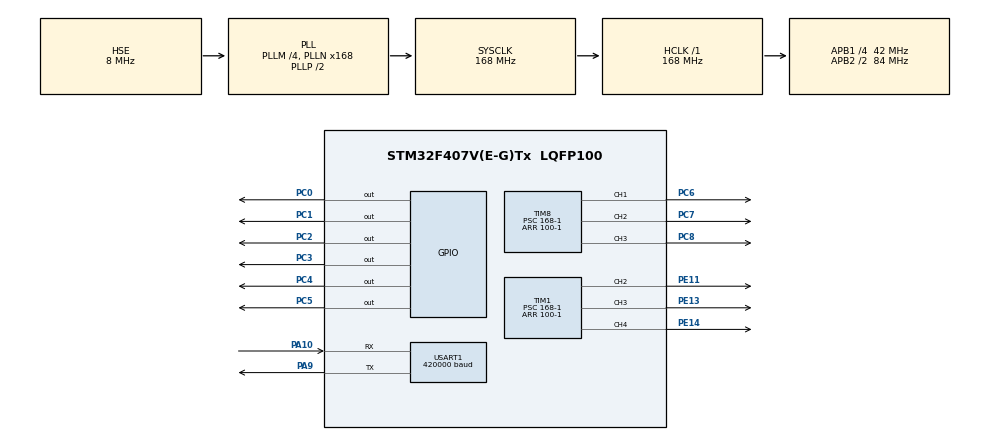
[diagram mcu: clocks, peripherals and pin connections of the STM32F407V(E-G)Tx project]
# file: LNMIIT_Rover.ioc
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Dma.Request0=USART1_RX
Dma.USART1_RX.0.Direction=DMA_PERIPH_TO_MEMORY
Dma.USART1_RX.0.FIFOMode=DMA_FIFOMODE_DISABLE
Dma.USART1_RX.0.Instance=DMA2_Stream2
Dma.USART1_RX.0.MemDataAlignment=DMA_MDATAALIGN_BYTE
Dma.USART1_RX.0.MemInc=DMA_MINC_ENABLE
Dma.USART1_RX.0.Mode=DMA_CIRCULAR
Dma.USART1_RX.0.PeriphDataAlignment=DMA_PDATAALIGN_BYTE
Dma.USART1_RX.0.PeriphInc=DMA_PINC_DISABLE
Dma.USART1_RX.0.Priority=DMA_PRIORITY_HIGH
Mcu.Family=STM32F4
Mcu.Name=STM32F407V(E-G)Tx
Mcu.Package=LQFP100
NVIC.DMA2_Stream2_IRQn=true\:0\:0\:false\:false\:true\:false\:true\:true
NVIC.PriorityGroup=NVIC_PRIORITYGROUP_4
NVIC.USART1_IRQn=true\:0\:0\:false\:false\:true\:true\:true\:true
PA10.Mode=Asynchronous
PA10.Signal=USART1_RX
PA9.Mode=Asynchronous
PA9.Signal=USART1_TX
PC0.Signal=GPIO_Output
PC1.Signal=GPIO_Output
PC2.Signal=GPIO_Output
PC3.Signal=GPIO_Output
PC4.Signal=GPIO_Output
PC5.Signal=GPIO_Output
PC6.GPIO_Speed=GPIO_SPEED_FREQ_HIGH
PC6.Signal=S_TIM8_CH1
PC7.GPIO_Speed=GPIO_SPEED_FREQ_HIGH
PC7.Signal=S_TIM8_CH2
PC8.GPIO_Speed=GPIO_SPEED_FREQ_HIGH
PC8.Signal=S_TIM8_CH3
PE11.GPIO_Speed=GPIO_SPEED_FREQ_HIGH
PE11.Signal=S_TIM1_CH2
PE13.GPIO_Speed=GPIO_SPEED_FREQ_HIGH
PE13.Signal=S_TIM1_CH3
PE14.GPIO_Speed=GPIO_SPEED_FREQ_HIGH
PE14.Signal=S_TIM1_CH4
PH0-OSC_IN.Mode=HSE-External-Oscillator
PH0-OSC_IN.Signal=RCC_OSC_IN
PH1-OSC_OUT.Mode=HSE-External-Oscillator
PH1-OSC_OUT.Signal=RCC_OSC_OUT
ProjectManager.HeapSize=0x200
ProjectManager.StackSize=0x400
ProjectManager.TargetToolchain=STM32CubeIDE
RCC.48MHZClocksFreq_Value=84000000
RCC.AHBFreq_Value=168000000
RCC.APB1CLKDivider=RCC_HCLK_DIV4
RCC.APB1Freq_Value=42000000
RCC.APB1TimFreq_Value=84000000
RCC.APB2CLKDivider=RCC_HCLK_DIV2
RCC.APB2Freq_Value=84000000
RCC.APB2TimFreq_Value=168000000
RCC.CortexFreq_Value=168000000
RCC.HCLKFreq_Value=168000000
RCC.HSE_VALUE=8000000
RCC.HSI_VALUE=16000000
RCC.LSE_VALUE=32768
RCC.PLLM=4
RCC.PLLN=168
RCC.PLLSourceVirtual=RCC_PLLSOURCE_HSE
RCC.SYSCLKFreq_VALUE=168000000
RCC.SYSCLKSource=RCC_SYSCLKSOURCE_PLLCLK
RCC.VCOOutputFreq_Value=336000000
SH.S_TIM1_CH2.0=TIM1_CH2,PWM Generation2 CH2
SH.S_TIM1_CH3.0=TIM1_CH3,PWM Generation3 CH3
SH.S_TIM1_CH4.0=TIM1_CH4,PWM Generation4 CH4
SH.S_TIM8_CH1.0=TIM8_CH1,PWM Generation1 CH1
SH.S_TIM8_CH2.0=TIM8_CH2,PWM Generation2 CH2
SH.S_TIM8_CH3.0=TIM8_CH3,PWM Generation3 CH3
TIM1.AutoReloadPreload=TIM_AUTORELOAD_PRELOAD_ENABLE
TIM1.Channel-PWM\ Generation2\ CH2=TIM_CHANNEL_2
TIM1.Channel-PWM\ Generation3\ CH3=TIM_CHANNEL_3
TIM1.Channel-PWM\ Generation4\ CH4=TIM_CHANNEL_4
TIM1.OCFastMode_PWM-PWM\ Generation2\ CH2=TIM_OCFAST_ENABLE
TIM1.OCFastMode_PWM-PWM\ Generation3\ CH3=TIM_OCFAST_ENABLE
TIM1.OCFastMode_PWM-PWM\ Generation4\ CH4=TIM_OCFAST_ENABLE
TIM1.Period=100-1
TIM1.Prescaler=168-1
TIM8.AutoReloadPreload=TIM_AUTORELOAD_PRELOAD_ENABLE
TIM8.Channel-PWM\ Generation1\ CH1=TIM_CHANNEL_1
TIM8.Channel-PWM\ Generation2\ CH2=TIM_CHANNEL_2
TIM8.Channel-PWM\ Generation3\ CH3=TIM_CHANNEL_3
TIM8.OCFastMode_PWM-PWM\ Generation1\ CH1=TIM_OCFAST_ENABLE
TIM8.OCFastMode_PWM-PWM\ Generation2\ CH2=TIM_OCFAST_ENABLE
TIM8.OCFastMode_PWM-PWM\ Generation3\ CH3=TIM_OCFAST_ENABLE
TIM8.Period=100-1
TIM8.Prescaler=168-1
USART1.BaudRate=420000
USART1.VirtualMode=VM_ASYNC
VP_TIM1_VS_ClockSourceINT.Mode=Internal
VP_TIM8_VS_ClockSourceINT.Mode=Internal
board=custom

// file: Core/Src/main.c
/* USER CODE BEGIN Header */
/**
  ******************************************************************************
  * @file           : main.c
  * @brief          : Main program body
  ******************************************************************************
  * @attention
  *
  * Copyright (c) 2025 STMicroelectronics.
  * All rights reserved.
  *
  * This software is licensed under terms that can be found in the LICENSE file
  * in the root directory of this software component.
  * If no LICENSE file comes with this software, it is provided AS-IS.
  *
  ******************************************************************************
  */
/* USER CODE END Header */
#include "main.h"

/* USER CODE BEGIN Includes */
#include <stdlib.h>
/* USER CODE END Includes */

/* USER CODE BEGIN PD */
#define RX_BUFFER_SIZE 64

#define CRSF_MIN 172
#define CRSF_VAL_1000 191
#define CRSF_MID 992
#define CRSF_VAL_2000 1792
#define CRSF_MAX 1811

#define CRSF_OUT_MIN -100
#define CRSF_OUT_MAX 100

#define TURNING_FACTOR 0.9
#define DEADBAND 5
/* USER CODE END PD */

TIM_HandleTypeDef htim1;
TIM_HandleTypeDef htim8;

UART_HandleTypeDef huart1;
DMA_HandleTypeDef hdma_usart1_rx;

/* USER CODE BEGIN PV */
#define TIM_LEFT htim1
#define TIM_LEFT_ADDR &htim1
#define TIM_RIGHT htim8
#define TIM_RIGHT_ADDR &htim8

#define CH_FRONT_LEFT TIM_CHANNEL_2
#define CH_CENTER_LEFT TIM_CHANNEL_3
#define CH_BACK_LEFT TIM_CHANNEL_4
#define CH_FRONT_RIGHT TIM_CHANNEL_1
#define CH_CENTER_RIGHT TIM_CHANNEL_2
#define CH_BACK_RIGHT TIM_CHANNEL_3

#define DIR_GPIO_CH GPIOC
#define DIR_FRONT_LEFT GPIO_PIN_0
#define DIR_CENTER_LEFT GPIO_PIN_1
#define DIR_BACK_LEFT GPIO_PIN_2
#define DIR_FRONT_RIGHT GPIO_PIN_3
#define DIR_CENTER_RIGHT GPIO_PIN_4
#define DIR_BACK_RIGHT GPIO_PIN_5

uint8_t rxBuffer[RX_BUFFER_SIZE]; // DMA buffer
uint8_t packetBuffer[RX_BUFFER_SIZE]; // Temporary buffer for packets
uint8_t packetIndex = 0; // Index for capturing packets
uint8_t expectedPacketLength = 0; // Expected full packet length

typedef struct {
	uint16_t values[16];
	uint32_t lastUpdateTime;
} RCChannels_t;

static RCChannels_t rcChannels = {0};
/* USER CODE END PV */

void SystemClock_Config(void);
static void MX_GPIO_Init(void);
static void MX_DMA_Init(void);
static void MX_USART1_UART_Init(void);
static void MX_TIM1_Init(void);
static void MX_TIM8_Init(void);
/* USER CODE BEGIN PFP */
void parseCRSFPacket(uint8_t *packet, uint8_t length);
void parseRCChannels(uint8_t *payload);
int16_t mapCRSF(uint16_t val);

void _modify_gpio_left(GPIO_PinState state);
void _modify_gpio_right(GPIO_PinState state);
void _modify_gpio_all(GPIO_PinState state);
void _modify_pwm_left(uint16_t val);
void _modify_pwm_right(uint16_t val);
void _modify_pwm_all(uint16_t val);

//void rover_control(uint8_t dir, uint16_t speed, uint16_t side_speed);
void manual_mode();
/* USER CODE END PFP */

/* USER CODE BEGIN 0 */
void HAL_UART_RxCpltCallback(UART_HandleTypeDef *huart) {
	if (huart->Instance == USART1) {
		for (int i = 0; i < RX_BUFFER_SIZE; i++) {
			uint8_t byte = rxBuffer[i];

			if (packetIndex == 0) {
				if (byte == 0xC8) {  // Look for Sync Byte
					packetBuffer[packetIndex++] = byte;
				}
			} else if (packetIndex == 1) {
				expectedPacketLength = byte + 2; // Total packet size
				packetBuffer[packetIndex++] = byte;

				if (expectedPacketLength > RX_BUFFER_SIZE) {
					packetIndex = 0;
				}
			} else {
				packetBuffer[packetIndex++] = byte;

				if (packetIndex == expectedPacketLength) {
					parseCRSFPacket(packetBuffer, packetIndex);
					packetIndex = 0;
				}
			}
		}

    HAL_UART_Receive_DMA(&huart1, rxBuffer, RX_BUFFER_SIZE);
	}
}

void HAL_UART_ErrorCallback(UART_HandleTypeDef *huart) {
	if (huart->Instance == USART1) {
		HAL_UART_Receive_DMA(&huart1, rxBuffer, RX_BUFFER_SIZE); // Restart DMA reception
	}
}

void parseCRSFPacket(uint8_t *packet, uint8_t length) {
	// Ensure packet has valid length
	if (length < 3) return;

	uint8_t type = packet[2];  // Type is at index 2
	uint8_t *payload = &packet[3];  // Payload starts at index 3

	switch (type) {
		case 0x16:  // RC Channels Data
			parseRCChannels(payload);
			break;
		default:

			break;
	}
}

void parseRCChannels(uint8_t *payload) {
	// Correct 11-bit extraction using bit shifts
	rcChannels.values[0]  = (payload[0]  | (payload[1]  << 8))  & 0x07FF;
	rcChannels.values[1]  = (payload[1]  >> 3 | (payload[2]  << 5))  & 0x07FF;
	rcChannels.values[2]  = (payload[2]  >> 6 | (payload[3]  << 2) | (payload[4]  << 10)) & 0x07FF;
	rcChannels.values[3]  = (payload[4]  >> 1 | (payload[5]  << 7))  & 0x07FF;
	rcChannels.values[4]  = (payload[5]  >> 4 | (payload[6]  << 4))  & 0x07FF;
	rcChannels.values[5]  = (payload[6]  >> 7 | (payload[7]  << 1) | (payload[8]  << 9)) & 0x07FF;
	rcChannels.values[6]  = (payload[8]  >> 2 | (payload[9]  << 6))  & 0x07FF;
	rcChannels.values[7]  = (payload[9]  >> 5 | (payload[10] << 3))  & 0x07FF;
	rcChannels.values[8]  = (payload[11] | (payload[12] << 8))  & 0x07FF;
	rcChannels.values[9]  = (payload[12] >> 3 | (payload[13] << 5))  & 0x07FF;
	rcChannels.values[10] = (payload[13] >> 6 | (payload[14] << 2) | (payload[15] << 10)) & 0x07FF;
	rcChannels.values[11] = (payload[15] >> 1 | (payload[16] << 7))  & 0x07FF;
	rcChannels.values[12] = (payload[16] >> 4 | (payload[17] << 4))  & 0x07FF;
	rcChannels.values[13] = (payload[17] >> 7 | (payload[18] << 1) | (payload[19] << 9)) & 0x07FF;
	rcChannels.values[14] = (payload[19] >> 2 | (payload[20] << 6))  & 0x07FF;
	rcChannels.values[15] = (payload[20] >> 5 | (payload[21] << 3))  & 0x07FF;

	rcChannels.lastUpdateTime = HAL_GetTick();
}

int16_t mapCRSF(uint16_t val) {
	if (val < CRSF_MIN) val = CRSF_MIN;
	if (val > CRSF_MAX) val = CRSF_MAX;

	return (int16_t)((val - CRSF_MIN) * (CRSF_OUT_MAX - CRSF_OUT_MIN) / (CRSF_MAX - CRSF_MIN) + CRSF_OUT_MIN);
}

void _modify_gpio_left(GPIO_PinState state) {
	HAL_GPIO_WritePin(DIR_GPIO_CH, DIR_FRONT_LEFT, state);
	HAL_GPIO_WritePin(DIR_GPIO_CH, DIR_CENTER_LEFT, state);
	HAL_GPIO_WritePin(DIR_GPIO_CH, DIR_BACK_LEFT, state);
}

void _modify_gpio_right(GPIO_PinState state) {
	HAL_GPIO_WritePin(DIR_GPIO_CH, DIR_FRONT_RIGHT, state);
	HAL_GPIO_WritePin(DIR_GPIO_CH, DIR_CENTER_RIGHT, state);
	HAL_GPIO_WritePin(DIR_GPIO_CH, DIR_BACK_RIGHT, state);
}

void _modify_gpio_all(GPIO_PinState state) {
	_modify_gpio_left(state);
	_modify_gpio_right(state);

}

void _modify_pwm_left(uint16_t val) {
	__HAL_TIM_SET_COMPARE(TIM_LEFT_ADDR, CH_FRONT_LEFT, val);
	__HAL_TIM_SET_COMPARE(TIM_LEFT_ADDR, CH_CENTER_LEFT, val);
	__HAL_TIM_SET_COMPARE(TIM_LEFT_ADDR, CH_BACK_LEFT, val);
}

void _modify_pwm_right(uint16_t val) {
	__HAL_TIM_SET_COMPARE(TIM_RIGHT_ADDR, CH_FRONT_RIGHT, val);
	__HAL_TIM_SET_COMPARE(TIM_RIGHT_ADDR, CH_CENTER_RIGHT, val);
	__HAL_TIM_SET_COMPARE(TIM_RIGHT_ADDR, CH_BACK_RIGHT, val);
}

void _modify_pwm_all(uint16_t val) {
	_modify_pwm_left(val);
	_modify_pwm_right(val);
}

void manual_mode() {
	int16_t y_map = mapCRSF(rcChannels.values[1]);
	int16_t x_map = mapCRSF(rcChannels.values[0]);
	int16_t s_map = mapCRSF(rcChannels.values[3]);

	if (abs(s_map) - DEADBAND > 0) { // Spin on its axis
		if (s_map > 0) { // right / clockwise spin
			_modify_gpio_left(GPIO_PIN_SET);
			_modify_gpio_right(GPIO_PIN_RESET);
		} else if (s_map < 0) { // left / anti-clockwise spin
			_modify_gpio_left(GPIO_PIN_RESET);
			_modify_gpio_right(GPIO_PIN_SET);
		}

		_modify_pwm_all(abs(s_map));
	} else { // normal movement
		if (abs(y_map) - DEADBAND > 0) {
					if (y_map > 0) _modify_gpio_all(GPIO_PIN_RESET);
					else if (y_map < 0) _modify_gpio_all(GPIO_PIN_SET);
				}

				if (abs(x_map) - DEADBAND > 0) {
					int16_t other = abs(y_map) - (abs(x_map) * TURNING_FACTOR);
					if (other < 0) other = 0;

					if (x_map > 0) {
						_modify_pwm_right(abs(y_map));
						_modify_pwm_left(other);

					} else if (x_map < 0) {
						_modify_pwm_left(abs(y_map));
												_modify_pwm_right(other);
					}
				} else _modify_pwm_all(abs(y_map));
	}
}
/* USER CODE END 0 */

int main(void)
{

  /* MCU Configuration--------------------------------------------------------*/

  /* Reset of all peripherals, Initializes the Flash interface and the Systick. */
  HAL_Init();

  /* Configure the system clock */
  SystemClock_Config();

  /* Initialize all configured peripherals */
  MX_GPIO_Init();
  MX_DMA_Init();
  MX_USART1_UART_Init();
  MX_TIM1_Init();
  MX_TIM8_Init();
  /* USER CODE BEGIN 2 */
  HAL_UART_Receive_DMA(&huart1, rxBuffer, RX_BUFFER_SIZE);

  HAL_TIM_PWM_Start(&htim1, TIM_CHANNEL_2);  // Motor 1
	HAL_TIM_PWM_Start(&htim1, TIM_CHANNEL_3);  // Motor 2
	HAL_TIM_PWM_Start(&htim1, TIM_CHANNEL_4);  // Motor 3
	HAL_TIM_PWM_Start(&htim8, TIM_CHANNEL_1);  // Motor 4
	HAL_TIM_PWM_Start(&htim8, TIM_CHANNEL_2);  // Motor 5
	HAL_TIM_PWM_Start(&htim8, TIM_CHANNEL_3);  // Motor 6

	_modify_gpio_all(GPIO_PIN_RESET);
	_modify_pwm_all(0);
  /* USER CODE END 2 */

  /* Infinite loop */
  /* USER CODE BEGIN WHILE */
  while (1)
  {
  	manual_mode();
    /* USER CODE END WHILE */

  }
}

void SystemClock_Config(void)
{
  RCC_OscInitTypeDef RCC_OscInitStruct = {0};
  RCC_ClkInitTypeDef RCC_ClkInitStruct = {0};

  /** Configure the main internal regulator output voltage
  */
  __HAL_RCC_PWR_CLK_ENABLE();
  __HAL_PWR_VOLTAGESCALING_CONFIG(PWR_REGULATOR_VOLTAGE_SCALE1);

  /** Initializes the RCC Oscillators according to the specified parameters
  * in the RCC_OscInitTypeDef structure.
  */
  RCC_OscInitStruct.OscillatorType = RCC_OSCILLATORTYPE_HSE;
  RCC_OscInitStruct.HSEState = RCC_HSE_ON;
  RCC_OscInitStruct.PLL.PLLState = RCC_PLL_ON;
  RCC_OscInitStruct.PLL.PLLSource = RCC_PLLSOURCE_HSE;
  RCC_OscInitStruct.PLL.PLLM = 4;
  RCC_OscInitStruct.PLL.PLLN = 168;
  RCC_OscInitStruct.PLL.PLLP = RCC_PLLP_DIV2;
  RCC_OscInitStruct.PLL.PLLQ = 4;
  if (HAL_RCC_OscConfig(&RCC_OscInitStruct) != HAL_OK)
  {
    Error_Handler();
  }

  /** Initializes the CPU, AHB and APB buses clocks
  */
  RCC_ClkInitStruct.ClockType = RCC_CLOCKTYPE_HCLK|RCC_CLOCKTYPE_SYSCLK
                              |RCC_CLOCKTYPE_PCLK1|RCC_CLOCKTYPE_PCLK2;
  RCC_ClkInitStruct.SYSCLKSource = RCC_SYSCLKSOURCE_PLLCLK;
  RCC_ClkInitStruct.AHBCLKDivider = RCC_SYSCLK_DIV1;
  RCC_ClkInitStruct.APB1CLKDivider = RCC_HCLK_DIV4;
  RCC_ClkInitStruct.APB2CLKDivider = RCC_HCLK_DIV2;

  if (HAL_RCC_ClockConfig(&RCC_ClkInitStruct, FLASH_LATENCY_5) != HAL_OK)
  {
    Error_Handler();
  }
}

static void MX_TIM1_Init(void)
{

  TIM_ClockConfigTypeDef sClockSourceConfig = {0};
  TIM_MasterConfigTypeDef sMasterConfig = {0};
  TIM_OC_InitTypeDef sConfigOC = {0};
  TIM_BreakDeadTimeConfigTypeDef sBreakDeadTimeConfig = {0};

  htim1.Instance = TIM1;
  htim1.Init.Prescaler = 168-1;
  htim1.Init.CounterMode = TIM_COUNTERMODE_UP;
  htim1.Init.Period = 100-1;
  htim1.Init.ClockDivision = TIM_CLOCKDIVISION_DIV1;
  htim1.Init.RepetitionCounter = 0;
  htim1.Init.AutoReloadPreload = TIM_AUTORELOAD_PRELOAD_ENABLE;
  if (HAL_TIM_Base_Init(&htim1) != HAL_OK)
  {
    Error_Handler();
  }
  sClockSourceConfig.ClockSource = TIM_CLOCKSOURCE_INTERNAL;
  if (HAL_TIM_ConfigClockSource(&htim1, &sClockSourceConfig) != HAL_OK)
  {
    Error_Handler();
  }
  if (HAL_TIM_PWM_Init(&htim1) != HAL_OK)
  {
    Error_Handler();
  }
  sMasterConfig.MasterOutputTrigger = TIM_TRGO_RESET;
  sMasterConfig.MasterSlaveMode = TIM_MASTERSLAVEMODE_DISABLE;
  if (HAL_TIMEx_MasterConfigSynchronization(&htim1, &sMasterConfig) != HAL_OK)
  {
    Error_Handler();
  }
  sConfigOC.OCMode = TIM_OCMODE_PWM1;
  sConfigOC.Pulse = 0;
  sConfigOC.OCPolarity = TIM_OCPOLARITY_HIGH;
  sConfigOC.OCNPolarity = TIM_OCNPOLARITY_HIGH;
  sConfigOC.OCFastMode = TIM_OCFAST_ENABLE;
  sConfigOC.OCIdleState = TIM_OCIDLESTATE_RESET;
  sConfigOC.OCNIdleState = TIM_OCNIDLESTATE_RESET;
  if (HAL_TIM_PWM_ConfigChannel(&htim1, &sConfigOC, TIM_CHANNEL_2) != HAL_OK)
  {
    Error_Handler();
  }
  if (HAL_TIM_PWM_ConfigChannel(&htim1, &sConfigOC, TIM_CHANNEL_3) != HAL_OK)
  {
    Error_Handler();
  }
  if (HAL_TIM_PWM_ConfigChannel(&htim1, &sConfigOC, TIM_CHANNEL_4) != HAL_OK)
  {
    Error_Handler();
  }
  sBreakDeadTimeConfig.OffStateRunMode = TIM_OSSR_DISABLE;
  sBreakDeadTimeConfig.OffStateIDLEMode = TIM_OSSI_DISABLE;
  sBreakDeadTimeConfig.LockLevel = TIM_LOCKLEVEL_OFF;
  sBreakDeadTimeConfig.DeadTime = 0;
  sBreakDeadTimeConfig.BreakState = TIM_BREAK_DISABLE;
  sBreakDeadTimeConfig.BreakPolarity = TIM_BREAKPOLARITY_HIGH;
  sBreakDeadTimeConfig.AutomaticOutput = TIM_AUTOMATICOUTPUT_DISABLE;
  if (HAL_TIMEx_ConfigBreakDeadTime(&htim1, &sBreakDeadTimeConfig) != HAL_OK)
  {
    Error_Handler();
  }
  HAL_TIM_MspPostInit(&htim1);

}

static void MX_TIM8_Init(void)
{

  TIM_ClockConfigTypeDef sClockSourceConfig = {0};
  TIM_MasterConfigTypeDef sMasterConfig = {0};
  TIM_OC_InitTypeDef sConfigOC = {0};
  TIM_BreakDeadTimeConfigTypeDef sBreakDeadTimeConfig = {0};

  htim8.Instance = TIM8;
  htim8.Init.Prescaler = 168-1;
  htim8.Init.CounterMode = TIM_COUNTERMODE_UP;
  htim8.Init.Period = 100-1;
  htim8.Init.ClockDivision = TIM_CLOCKDIVISION_DIV1;
  htim8.Init.RepetitionCounter = 0;
  htim8.Init.AutoReloadPreload = TIM_AUTORELOAD_PRELOAD_ENABLE;
  if (HAL_TIM_Base_Init(&htim8) != HAL_OK)
  {
    Error_Handler();
  }
  sClockSourceConfig.ClockSource = TIM_CLOCKSOURCE_INTERNAL;
  if (HAL_TIM_ConfigClockSource(&htim8, &sClockSourceConfig) != HAL_OK)
  {
    Error_Handler();
  }
  if (HAL_TIM_PWM_Init(&htim8) != HAL_OK)
  {
    Error_Handler();
  }
  sMasterConfig.MasterOutputTrigger = TIM_TRGO_RESET;
  sMasterConfig.MasterSlaveMode = TIM_MASTERSLAVEMODE_DISABLE;
  if (HAL_TIMEx_MasterConfigSynchronization(&htim8, &sMasterConfig) != HAL_OK)
  {
    Error_Handler();
  }
  sConfigOC.OCMode = TIM_OCMODE_PWM1;
  sConfigOC.Pulse = 0;
  sConfigOC.OCPolarity = TIM_OCPOLARITY_HIGH;
  sConfigOC.OCNPolarity = TIM_OCNPOLARITY_HIGH;
  sConfigOC.OCFastMode = TIM_OCFAST_ENABLE;
  sConfigOC.OCIdleState = TIM_OCIDLESTATE_RESET;
  sConfigOC.OCNIdleState = TIM_OCNIDLESTATE_RESET;
  if (HAL_TIM_PWM_ConfigChannel(&htim8, &sConfigOC, TIM_CHANNEL_1) != HAL_OK)
  {
    Error_Handler();
  }
  if (HAL_TIM_PWM_ConfigChannel(&htim8, &sConfigOC, TIM_CHANNEL_2) != HAL_OK)
  {
    Error_Handler();
  }
  if (HAL_TIM_PWM_ConfigChannel(&htim8, &sConfigOC, TIM_CHANNEL_3) != HAL_OK)
  {
    Error_Handler();
  }
  sBreakDeadTimeConfig.OffStateRunMode = TIM_OSSR_DISABLE;
  sBreakDeadTimeConfig.OffStateIDLEMode = TIM_OSSI_DISABLE;
  sBreakDeadTimeConfig.LockLevel = TIM_LOCKLEVEL_OFF;
  sBreakDeadTimeConfig.DeadTime = 0;
  sBreakDeadTimeConfig.BreakState = TIM_BREAK_DISABLE;
  sBreakDeadTimeConfig.BreakPolarity = TIM_BREAKPOLARITY_HIGH;
  sBreakDeadTimeConfig.AutomaticOutput = TIM_AUTOMATICOUTPUT_DISABLE;
  if (HAL_TIMEx_ConfigBreakDeadTime(&htim8, &sBreakDeadTimeConfig) != HAL_OK)
  {
    Error_Handler();
  }
  HAL_TIM_MspPostInit(&htim8);

}

static void MX_USART1_UART_Init(void)
{

  huart1.Instance = USART1;
  huart1.Init.BaudRate = 420000;
  huart1.Init.WordLength = UART_WORDLENGTH_8B;
  huart1.Init.StopBits = UART_STOPBITS_1;
  huart1.Init.Parity = UART_PARITY_NONE;
  huart1.Init.Mode = UART_MODE_TX_RX;
  huart1.Init.HwFlowCtl = UART_HWCONTROL_NONE;
  huart1.Init.OverSampling = UART_OVERSAMPLING_16;
  if (HAL_UART_Init(&huart1) != HAL_OK)
  {
    Error_Handler();
  }

}

static void MX_DMA_Init(void)
{

  /* DMA controller clock enable */
  __HAL_RCC_DMA2_CLK_ENABLE();

  /* DMA interrupt init */
  /* DMA2_Stream2_IRQn interrupt configuration */
  HAL_NVIC_SetPriority(DMA2_Stream2_IRQn, 0, 0);
  HAL_NVIC_EnableIRQ(DMA2_Stream2_IRQn);

}

static void MX_GPIO_Init(void)
{
  GPIO_InitTypeDef GPIO_InitStruct = {0};

  /* GPIO Ports Clock Enable */
  __HAL_RCC_GPIOH_CLK_ENABLE();
  __HAL_RCC_GPIOC_CLK_ENABLE();
  __HAL_RCC_GPIOE_CLK_ENABLE();
  __HAL_RCC_GPIOA_CLK_ENABLE();

  /*Configure GPIO pin Output Level */
  HAL_GPIO_WritePin(GPIOC, GPIO_PIN_0|GPIO_PIN_1|GPIO_PIN_2|GPIO_PIN_3
                          |GPIO_PIN_4|GPIO_PIN_5, GPIO_PIN_RESET);

  /*Configure GPIO pins : PC0 PC1 PC2 PC3
                           PC4 PC5 */
  GPIO_InitStruct.Pin = GPIO_PIN_0|GPIO_PIN_1|GPIO_PIN_2|GPIO_PIN_3
                          |GPIO_PIN_4|GPIO_PIN_5;
  GPIO_InitStruct.Mode = GPIO_MODE_OUTPUT_PP;
  GPIO_InitStruct.Pull = GPIO_NOPULL;
  GPIO_InitStruct.Speed = GPIO_SPEED_FREQ_LOW;
  HAL_GPIO_Init(GPIOC, &GPIO_InitStruct);

}

void Error_Handler(void)
{
  __disable_irq();
  while (1)
  {
  }
}
